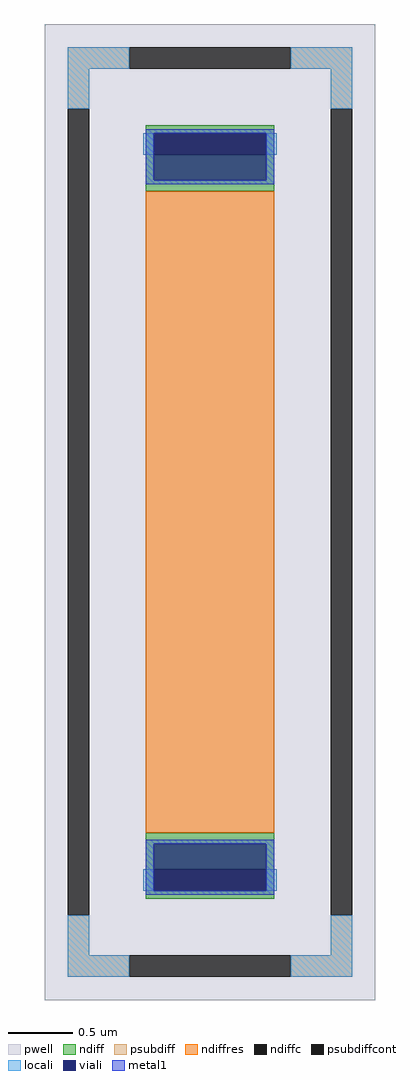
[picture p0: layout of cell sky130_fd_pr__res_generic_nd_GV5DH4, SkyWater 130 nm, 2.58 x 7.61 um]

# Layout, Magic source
magic
tech sky130A
magscale 1 2
<< pwell >>
rect -258 -761 258 761
<< ndiff >>
rect -100 591 100 603
rect -100 557 -88 591
rect 88 557 100 591
rect -100 500 100 557
rect -100 -557 100 -500
rect -100 -591 -88 -557
rect 88 -591 100 -557
rect -100 -603 100 -591
<< ndiffc >>
rect -88 557 88 591
rect -88 -591 88 -557
<< psubdiff >>
rect -222 691 -126 725
rect 126 691 222 725
rect -222 629 -188 691
rect 188 629 222 691
rect -222 -691 -188 -629
rect 188 -691 222 -629
rect -222 -725 -126 -691
rect 126 -725 222 -691
<< psubdiffcont >>
rect -126 691 126 725
rect -222 -629 -188 629
rect 188 -629 222 629
rect -126 -725 126 -691
<< ndiffres >>
rect -100 -500 100 500
<< locali >>
rect -222 691 -126 725
rect 126 691 222 725
rect -222 629 -188 691
rect 188 629 222 691
rect -104 557 -88 591
rect 88 557 104 591
rect -104 -591 -88 -557
rect 88 -591 104 -557
rect -222 -691 -188 -629
rect 188 -691 222 -629
rect -222 -725 -126 -691
rect 126 -725 222 -691
<< viali >>
rect -88 557 88 591
rect -88 517 88 557
rect -88 -557 88 -517
rect -88 -591 88 -557
<< metal1 >>
rect -100 591 100 597
rect -100 517 -88 591
rect 88 517 100 591
rect -100 511 100 517
rect -100 -517 100 -511
rect -100 -591 -88 -517
rect 88 -591 100 -517
rect -100 -597 100 -591
<< properties >>
string FIXED_BBOX -205 -708 205 708
string gencell sky130_fd_pr__res_generic_nd
string library sky130
string parameters w 1.0 l 5.0 m 1 nx 1 wmin 0.42 lmin 2.10 rho 120 val 631.578 dummy 0 dw 0.05 term 0.0 sterm 0.0 caplen 0.4 snake 0 guard 1 glc 1 grc 1 gtc 1 gbc 1 roverlap 0 endcov 100 full_metal 1 vias 1 viagb 0 viagt 0 viagl 0 viagr 0
<< end >>
